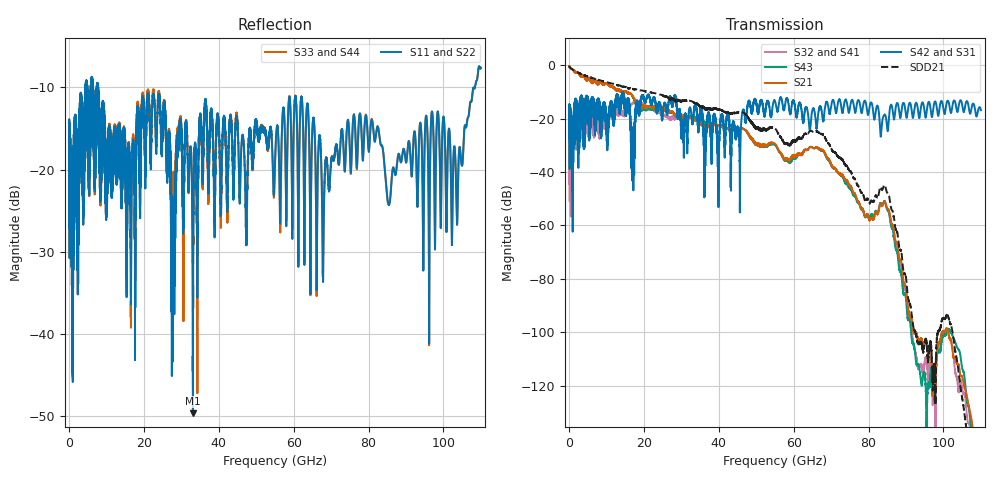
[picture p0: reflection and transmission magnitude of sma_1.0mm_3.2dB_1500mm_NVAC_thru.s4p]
!4 port subset of full cascaded channels using these ports:3 1 4 2
# Hz S RI R 50
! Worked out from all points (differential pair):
!   11000 points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, 10 MHz to 110 GHz, reference 50 ohm
!   strongest paths, dB at 10 MHz, 27.51 GHz, 55.01 GHz, 82.51 GHz, 110 GHz:
!     S42: -21.7, -14.9, -13.4, -15.5, -16.8
!     S31: -21.7, -14.9, -13.4, -15.5, -16.8
!     S21: -0.4, -17.4, -29.4, -55.7, -
!     S43: -0.4, -17.5, -29.9, -55.1, -
!     S32: -34.5, -19.6, -29.7, -55.4, -
!     S41: -34.5, -19.6, -29.7, -55.4, -
!   taken as a pair (ports 1,3 in; 2,4 out), SDD21 dB: -0.2, -12.5, -23.7, -49.4, -
!   lowest |S11| = -49.7 dB at 33.07 GHz (marker M1), VSWR 1.01, Z = 49.7 - j0.0997 ohm
!   |S11| at or under -10 dB: start of sweep to 4.389 GHz; 6.412 GHz to 7.376 GHz (964.4 MHz wide, 14 % of centre); 7.781 GHz to 108.4 GHz (100.6 GHz wide, 173 % of centre)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
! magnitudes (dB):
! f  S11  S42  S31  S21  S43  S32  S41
! 10 MHz  -19.9  -21.7  -21.7  -0.4  -0.4  -34.5  -34.5
! 4.41 GHz  -10.4  -15.8  -15.8  -4.9  -4.9  -21.4  -21.4
! 33.07 GHz  -49.7  -21.3  -21.3  -20.0  -19.1  -19.9  -19.9
! 67.72 GHz  -29.4  -19.9  -19.9  -31.8  -32.1  -31.9  -31.9
! 84.46 GHz  -20.5  -18.7  -18.7  -51.3  -51.5  -51.4  -51.4
! 89.4 GHz  -17.5  -14.1  -14.1  -81.2  -85.4  -83.3  -83.3
! 110 GHz  -7.6  -16.8  -16.8  -  -  -  -
